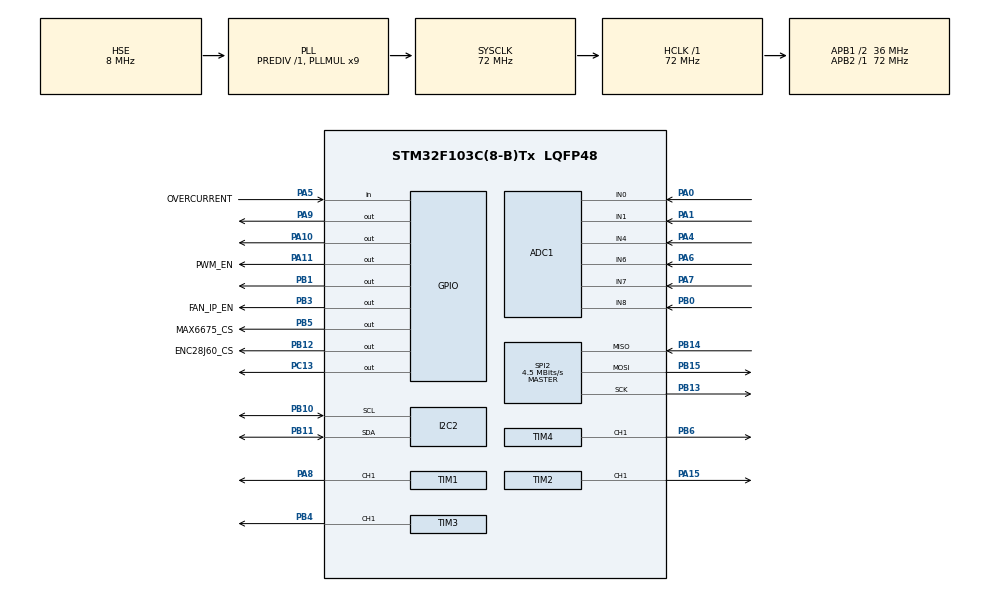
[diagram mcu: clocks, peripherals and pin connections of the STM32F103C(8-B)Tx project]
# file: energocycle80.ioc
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Mcu.Family=STM32F1
FREERTOS.Queues01=tempQueue,1,float,0,Dynamic,NULL,NULL;tcpQueue,64,uint8_t,0,Dynamic,NULL,NULL
FREERTOS.BinarySemaphores01=spi1BinarySem,Dynamic,NULL
SPI2.VirtualType=VM_MASTER
PB10.Mode=I2C
PB11.Signal=I2C2_SDA
PB13.Signal=SPI2_SCK
PB15.Signal=SPI2_MOSI
RCC.SYSCLKSource=RCC_SYSCLKSOURCE_PLLCLK
ProjectManager.StackSize=0x400
PD1-OSC_OUT.Signal=RCC_OSC_OUT
FREERTOS.configUSE_STATS_FORMATTING_FUNCTIONS=1
RCC.HCLKFreq_Value=72000000
RCC.APB2TimFreq_Value=72000000
TIM3.Period=288
PB6.Signal=S_TIM4_CH1
FREERTOS.configMINIMAL_STACK_SIZE=64
RCC.AHBFreq_Value=72000000
SPI2.BaudRatePrescaler=SPI_BAUDRATEPRESCALER_8
TIM3.Channel-PWM\ Generation1\ CH1=TIM_CHANNEL_1
ADC1.Channel-0\#ChannelRegularConversion=ADC_CHANNEL_0
FREERTOS.configUSE_TIMERS=1
RCC.PLLMUL=RCC_PLL_MUL9
FREERTOS.configENABLE_BACKWARD_COMPATIBILITY=0
PB12.GPIO_Label=ENC28J60_CS
TIM1.Channel-PWM\ Generation1\ CH1=TIM_CHANNEL_1
PA14.Mode=Serial_Wire
PB14.Mode=Full_Duplex_Master
SH.ADCx_IN8.0=ADC1_IN8,IN8
SPI2.CalculateBaudRate=4.5 MBits/s
PA8.Signal=S_TIM1_CH1
SH.ADCx_IN0.0=ADC1_IN0,IN0
TIM2.Channel-PWM\ Generation1\ CH1=TIM_CHANNEL_1
SH.S_TIM3_CH1.0=TIM3_CH1,PWM Generation1 CH1
TIM4.Period=288
VP_FREERTOS_VS_CMSIS_V1.Mode=CMSIS_V1
FREERTOS.configTIMER_TASK_PRIORITY=4
VP_TIM1_VS_ClockSourceINT.Mode=Internal
ADC1.SamplingTime-0\#ChannelRegularConversion=ADC_SAMPLETIME_1CYCLE_5
FREERTOS.configTOTAL_HEAP_SIZE=10240
Mcu.Package=LQFP48
PB1.Signal=GPIO_Output
PA6.Signal=ADCx_IN6
SPI2.Mode=SPI_MODE_MASTER
PA10.Signal=GPIO_Output
PA15.Signal=S_TIM2_CH1_ETR
SH.ADCx_IN1.0=ADC1_IN1,IN1
PB5.GPIO_Label=MAX6675_CS
SH.S_TIM4_CH1.0=TIM4_CH1,PWM Generation1 CH1
RCC.APB1TimFreq_Value=72000000
FREERTOS.configGENERATE_RUN_TIME_STATS=1
SPI2.Direction=SPI_DIRECTION_2LINES
TIM1.Period=288
PB13.Mode=Full_Duplex_Master
FREERTOS.configMAX_TASK_NAME_LEN=20
VP_TIM3_VS_ClockSourceINT.Mode=Internal
PB4.Signal=S_TIM3_CH1
PB3.GPIO_Label=FAN_IP_EN
RCC.PLLSourceVirtual=RCC_PLLSOURCE_HSE
TIM4.Channel-PWM\ Generation1\ CH1=TIM_CHANNEL_1
FREERTOS.Tasks01=defaultTask,-3,64,FdefaultTask,Default,NULL,Dynamic,NULL,NULL;mainTask,0,512,FmainTask,Default,NULL,Dynamic,NULL,NULL;tcpTask,0,512,FtcpTask,Default,NULL,Dynamic,NULL,NULL;adcTask,0,128,FadcTask,Default,NULL,Dynamic,NULL,NULL;frameDecoderTask,2,256,FframeDecoderTask,Default,NULL,Dynamic,NULL,NULL
ADC1.Rank-0\#ChannelRegularConversion=1
PD1-OSC_OUT.Mode=HSE-External-Oscillator
SH.ADCx_IN6.0=ADC1_IN6,IN6
FREERTOS.INCLUDE_vTaskDelayUntil=1
PC13-TAMPER-RTC.Signal=GPIO_Output
RCC.USBPrescaler=RCC_USBCLKSOURCE_PLL_DIV1_5
PA11.GPIO_Label=PWM_EN
PD0-OSC_IN.Signal=RCC_OSC_IN
RCC.APB1CLKDivider=RCC_HCLK_DIV2
PA0-WKUP.Signal=ADCx_IN0
RCC.ADCPresc=RCC_ADCPCLK2_DIV6
PA13.Signal=SYS_JTMS-SWDIO
SH.S_TIM1_CH1.0=TIM1_CH1,PWM Generation1 CH1
PB11.Mode=I2C
ProjectManager.TargetToolchain=STM32CubeIDE
FREERTOS.configUSE_TRACE_FACILITY=1
FREERTOS.configTIMER_TASK_STACK_DEPTH=128
SH.ADCx_IN7.0=ADC1_IN7,IN7
PA9.Signal=GPIO_Output
RCC.USBFreq_Value=48000000
PA1.Signal=ADCx_IN1
PB12.GPIO_Speed=GPIO_SPEED_FREQ_HIGH
PD0-OSC_IN.Mode=HSE-External-Oscillator
PB10.Signal=I2C2_SCL
PB14.Signal=SPI2_MISO
PA5.Signal=GPIO_Input
board=custom
PB15.Mode=Full_Duplex_Master
RCC.APB2Freq_Value=72000000
VP_TIM2_VS_ClockSourceINT.Mode=Internal
SH.ADCx_IN4.0=ADC1_IN4,IN4
FREERTOS.configUSE_MUTEXES=1
TIM2.Period=288
PA13.Mode=Serial_Wire
Mcu.Name=STM32F103C(8-B)Tx
PB3.Signal=GPIO_Output
PA4.Signal=ADCx_IN4
RCC.SYSCLKFreq_VALUE=72000000
PB5.Signal=GPIO_Output
ADC1.master=1
FREERTOS.configUSE_COUNTING_SEMAPHORES=1
PA5.GPIO_Label=OVERCURRENT
PA11.Signal=GPIO_Output
SH.S_TIM2_CH1_ETR.0=TIM2_CH1,PWM Generation1 CH1
PA14.Signal=SYS_JTCK-SWCLK
ProjectManager.HeapSize=0x200
FREERTOS.Timers01=tempTimer,CtempTimer,osTimerPeriodic,Default,NULL,Dynamic,NULL
VP_TIM4_VS_ClockSourceINT.Mode=Internal
FREERTOS.Mutexes01=spi1Mutex,Dynamic,NULL
NVIC.PriorityGroup=NVIC_PRIORITYGROUP_4
ADC1.NbrOfConversionFlag=1
RCC.APB1Freq_Value=36000000
PB0.Signal=ADCx_IN8
PB12.Signal=GPIO_Output
PA7.Signal=ADCx_IN7

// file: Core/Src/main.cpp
/* USER CODE BEGIN Header */
/**
  ******************************************************************************
  * @file           : main.c
  * @brief          : Main program body
  ******************************************************************************
  * @attention
  *
  * <h2><center>&copy; Copyright (c) 2021 STMicroelectronics.
  * All rights reserved.</center></h2>
  *
  * This software component is licensed by ST under Ultimate Liberty license
  * SLA0044, the "License"; You may not use this file except in compliance with
  * the License. You may obtain a copy of the License at:
  *                             www.st.com/SLA0044
  *
  ******************************************************************************
  */
/* USER CODE END Header */
#include "main.h"
#include "cmsis_os.h"

/* USER CODE BEGIN Includes */
#include <string.h>
#include <stdio.h>

#include "SEGGER_SYSVIEW_Int.h"
#include "SEGGER_RTT.h"

#include <ledImplementation.h>

#include "tcp_stream_buffer.h"
#include "net.h"
#include "max6675.h"

#include "LinxSTM32F103.h"
#include "LinxListener.h"

#include "Flash.h"
#include "EnergocycleSettings.h"
/* USER CODE END Includes */

ADC_HandleTypeDef hadc1;

I2C_HandleTypeDef hi2c2;

SPI_HandleTypeDef hspi2;

TIM_HandleTypeDef htim1;
TIM_HandleTypeDef htim2;
TIM_HandleTypeDef htim3;
TIM_HandleTypeDef htim4;

osThreadId defaultTaskHandle;
osThreadId mainTaskHandle;
osThreadId tcpTaskHandle;
osThreadId adcTaskHandle;
osThreadId frameDecoderTaskHandle;
osMessageQId tempQueueHandle;
osMessageQId tcpQueueHandle;
osTimerId tempTimerHandle;
osMutexId spi1MutexHandle;
osSemaphoreId spi1BinarySemHandle;
/* USER CODE BEGIN PV */
extern StreamBufferHandle_t tcp_rx_stream_buffer;
extern StreamBufferHandle_t tcp_tx_stream_buffer;

LinxSTM32F103* LinxDevice;
LinxListener* Listener;

Energocycle_settings_s esettings;
Energocycle_status_s estatus;
EC_FLASH_settings eflash_settings;
/* USER CODE END PV */

void SystemClock_Config(void);
static void MX_GPIO_Init(void);
static void MX_SPI2_Init(void);
static void MX_ADC1_Init(void);
static void MX_I2C2_Init(void);
static void MX_TIM1_Init(void);
static void MX_TIM2_Init(void);
static void MX_TIM3_Init(void);
static void MX_TIM4_Init(void);
void FdefaultTask(void const * argument);
void FmainTask(void const * argument);
void FtcpTask(void const * argument);
void FadcTask(void const * argument);
void FframeDecoderTask(void const * argument);
void CtempTimer(void const * argument);

int main(void)
{

  /* MCU Configuration--------------------------------------------------------*/

  /* Reset of all peripherals, Initializes the Flash interface and the Systick. */
  HAL_Init();

  /* Configure the system clock */
  SystemClock_Config();

  /* Initialize all configured peripherals */
  MX_GPIO_Init();
  MX_SPI2_Init();
  MX_ADC1_Init();
  MX_I2C2_Init();
  MX_TIM1_Init();
  MX_TIM2_Init();
  MX_TIM3_Init();
  MX_TIM4_Init();
  /* USER CODE BEGIN 2 */
  FLASH_Init();
  FLASH_ReadSettings();
  if (eflash_settings.init != 0x12345678) {
	  eflash_settings.init = 0x12345678;
	  eflash_settings.epid_settings = EC_PID_settings({0,0,0},{0,0,0},{0,0,0});
	  eflash_settings.ecalib_settings = EC_CALIB_settings({0,0},{0,0},{0,0});
	  FLASH_WriteSettings();
  }

  MAX6675_init(); //must be first cause CS up!!!
  net_ini();

  LinxDevice = new LinxSTM32F103();
  Listener = new LinxListener();
  Listener->LinxDev = LinxDevice;

  /* USER CODE END 2 */

  /* Create the mutex(es) */
  /* definition and creation of spi1Mutex */
  osMutexDef(spi1Mutex);
  spi1MutexHandle = osMutexCreate(osMutex(spi1Mutex));

  /* Create the semaphores(s) */
  /* definition and creation of spi1BinarySem */
  osSemaphoreDef(spi1BinarySem);
  spi1BinarySemHandle = osSemaphoreCreate(osSemaphore(spi1BinarySem), 1);

  /* Create the timer(s) */
  /* definition and creation of tempTimer */
  osTimerDef(tempTimer, CtempTimer);
  tempTimerHandle = osTimerCreate(osTimer(tempTimer), osTimerPeriodic, NULL);

  /* USER CODE BEGIN RTOS_TIMERS */
  /* start timers, add new ones, ... */
  osTimerStart(tempTimerHandle, 500);
  /* USER CODE END RTOS_TIMERS */

  /* Create the queue(s) */
  /* definition and creation of tempQueue */
  osMessageQDef(tempQueue, 1, float);
  tempQueueHandle = osMessageCreate(osMessageQ(tempQueue), NULL);

  /* definition and creation of tcpQueue */
  osMessageQDef(tcpQueue, 64, uint8_t);
  tcpQueueHandle = osMessageCreate(osMessageQ(tcpQueue), NULL);

  /* Create the thread(s) */
  /* definition and creation of defaultTask */
  osThreadDef(defaultTask, FdefaultTask, osPriorityIdle, 0, 64);
  defaultTaskHandle = osThreadCreate(osThread(defaultTask), NULL);

  /* definition and creation of mainTask */
  osThreadDef(mainTask, FmainTask, osPriorityNormal, 0, 512);
  mainTaskHandle = osThreadCreate(osThread(mainTask), NULL);

  /* definition and creation of tcpTask */
  osThreadDef(tcpTask, FtcpTask, osPriorityNormal, 0, 512);
  tcpTaskHandle = osThreadCreate(osThread(tcpTask), NULL);

  /* definition and creation of adcTask */
  osThreadDef(adcTask, FadcTask, osPriorityNormal, 0, 128);
  adcTaskHandle = osThreadCreate(osThread(adcTask), NULL);

  /* definition and creation of frameDecoderTask */
  osThreadDef(frameDecoderTask, FframeDecoderTask, osPriorityHigh, 0, 256);
  frameDecoderTaskHandle = osThreadCreate(osThread(frameDecoderTask), NULL);

  /* USER CODE BEGIN RTOS_THREADS */
  /* add threads, ... */
  SEGGER_RTT_printf(0, "%s", "stm started\n");

  #ifdef SEGGER_DEBUG
    SEGGER_RTT_printf(0, "PID_SETTINGS \n"
  		"T Kp=%u.%02u; T Ki=%u.%02u; T Kd=%u.%02u; \n"
  		"U Kp=%u.%02u; U Ki=%u.%02u; U Kd=%u.%02u; \n"
  		"I Kp=%u.%02u; I Ki=%u.%02u; I Kd=%u.%02u; \n",
  		FLOAT_PRINTF(eflash_settings.epid_settings.T_PID_settings.Kp),
  		FLOAT_PRINTF(eflash_settings.epid_settings.T_PID_settings.Ki),
  		FLOAT_PRINTF(eflash_settings.epid_settings.T_PID_settings.Kd),
  		FLOAT_PRINTF(eflash_settings.epid_settings.U_PID_settings.Kp),
  		FLOAT_PRINTF(eflash_settings.epid_settings.U_PID_settings.Ki),
  		FLOAT_PRINTF(eflash_settings.epid_settings.U_PID_settings.Kd),
  		FLOAT_PRINTF(eflash_settings.epid_settings.I_PID_settings.Kp),
  		FLOAT_PRINTF(eflash_settings.epid_settings.I_PID_settings.Ki),
  		FLOAT_PRINTF(eflash_settings.epid_settings.I_PID_settings.Kd));

    SEGGER_RTT_printf(0, "CALIB_SETTINGS \n"
  		"T K=%u.%u; T B=%u.%u \n"
  		"U K=%u.%u; U B=%u.%u; \n"
  		"I K=%u.%u; I B=%u.%u; \n",
  		FLOAT_PRINTF(eflash_settings.ecalib_settings.T_CALIB_settings.K),
  		FLOAT_PRINTF(eflash_settings.ecalib_settings.T_CALIB_settings.B),
  		FLOAT_PRINTF(eflash_settings.ecalib_settings.U_CALIB_settings.K),
  		FLOAT_PRINTF(eflash_settings.ecalib_settings.U_CALIB_settings.B),
  		FLOAT_PRINTF(eflash_settings.ecalib_settings.I_CALIB_settings.K),
  		FLOAT_PRINTF(eflash_settings.ecalib_settings.I_CALIB_settings.B));
  #endif
  /* USER CODE END RTOS_THREADS */

  /* Start scheduler */
  osKernelStart();

  /* We should never get here as control is now taken by the scheduler */
  /* Infinite loop */
  while (1)
  {

  }
}

void SystemClock_Config(void)
{
  RCC_OscInitTypeDef RCC_OscInitStruct = {0};
  RCC_ClkInitTypeDef RCC_ClkInitStruct = {0};
  RCC_PeriphCLKInitTypeDef PeriphClkInit = {0};

  /** Initializes the RCC Oscillators according to the specified parameters
  * in the RCC_OscInitTypeDef structure.
  */
  RCC_OscInitStruct.OscillatorType = RCC_OSCILLATORTYPE_HSE;
  RCC_OscInitStruct.HSEState = RCC_HSE_ON;
  RCC_OscInitStruct.HSEPredivValue = RCC_HSE_PREDIV_DIV1;
  RCC_OscInitStruct.HSIState = RCC_HSI_ON;
  RCC_OscInitStruct.PLL.PLLState = RCC_PLL_ON;
  RCC_OscInitStruct.PLL.PLLSource = RCC_PLLSOURCE_HSE;
  RCC_OscInitStruct.PLL.PLLMUL = RCC_PLL_MUL9;
  if (HAL_RCC_OscConfig(&RCC_OscInitStruct) != HAL_OK)
  {
    Error_Handler();
  }
  /** Initializes the CPU, AHB and APB buses clocks
  */
  RCC_ClkInitStruct.ClockType = RCC_CLOCKTYPE_HCLK|RCC_CLOCKTYPE_SYSCLK
                              |RCC_CLOCKTYPE_PCLK1|RCC_CLOCKTYPE_PCLK2;
  RCC_ClkInitStruct.SYSCLKSource = RCC_SYSCLKSOURCE_PLLCLK;
  RCC_ClkInitStruct.AHBCLKDivider = RCC_SYSCLK_DIV1;
  RCC_ClkInitStruct.APB1CLKDivider = RCC_HCLK_DIV2;
  RCC_ClkInitStruct.APB2CLKDivider = RCC_HCLK_DIV1;

  if (HAL_RCC_ClockConfig(&RCC_ClkInitStruct, FLASH_LATENCY_2) != HAL_OK)
  {
    Error_Handler();
  }
  PeriphClkInit.PeriphClockSelection = RCC_PERIPHCLK_ADC;
  PeriphClkInit.AdcClockSelection = RCC_ADCPCLK2_DIV6;
  if (HAL_RCCEx_PeriphCLKConfig(&PeriphClkInit) != HAL_OK)
  {
    Error_Handler();
  }
}

static void MX_ADC1_Init(void)
{

  ADC_ChannelConfTypeDef sConfig = {0};

  /** Common config
  */
  hadc1.Instance = ADC1;
  hadc1.Init.ScanConvMode = ADC_SCAN_DISABLE;
  hadc1.Init.ContinuousConvMode = DISABLE;
  hadc1.Init.DiscontinuousConvMode = DISABLE;
  hadc1.Init.ExternalTrigConv = ADC_SOFTWARE_START;
  hadc1.Init.DataAlign = ADC_DATAALIGN_RIGHT;
  hadc1.Init.NbrOfConversion = 1;
  if (HAL_ADC_Init(&hadc1) != HAL_OK)
  {
    Error_Handler();
  }
  /** Configure Regular Channel
  */
  sConfig.Channel = ADC_CHANNEL_0;
  sConfig.Rank = ADC_REGULAR_RANK_1;
  sConfig.SamplingTime = ADC_SAMPLETIME_1CYCLE_5;
  if (HAL_ADC_ConfigChannel(&hadc1, &sConfig) != HAL_OK)
  {
    Error_Handler();
  }

}

static void MX_I2C2_Init(void)
{

  hi2c2.Instance = I2C2;
  hi2c2.Init.ClockSpeed = 100000;
  hi2c2.Init.DutyCycle = I2C_DUTYCYCLE_2;
  hi2c2.Init.OwnAddress1 = 0;
  hi2c2.Init.AddressingMode = I2C_ADDRESSINGMODE_7BIT;
  hi2c2.Init.DualAddressMode = I2C_DUALADDRESS_DISABLE;
  hi2c2.Init.OwnAddress2 = 0;
  hi2c2.Init.GeneralCallMode = I2C_GENERALCALL_DISABLE;
  hi2c2.Init.NoStretchMode = I2C_NOSTRETCH_DISABLE;
  if (HAL_I2C_Init(&hi2c2) != HAL_OK)
  {
    Error_Handler();
  }

}

static void MX_SPI2_Init(void)
{

  /* SPI2 parameter configuration*/
  hspi2.Instance = SPI2;
  hspi2.Init.Mode = SPI_MODE_MASTER;
  hspi2.Init.Direction = SPI_DIRECTION_2LINES;
  hspi2.Init.DataSize = SPI_DATASIZE_8BIT;
  hspi2.Init.CLKPolarity = SPI_POLARITY_LOW;
  hspi2.Init.CLKPhase = SPI_PHASE_1EDGE;
  hspi2.Init.NSS = SPI_NSS_SOFT;
  hspi2.Init.BaudRatePrescaler = SPI_BAUDRATEPRESCALER_8;
  hspi2.Init.FirstBit = SPI_FIRSTBIT_MSB;
  hspi2.Init.TIMode = SPI_TIMODE_DISABLE;
  hspi2.Init.CRCCalculation = SPI_CRCCALCULATION_DISABLE;
  hspi2.Init.CRCPolynomial = 10;
  if (HAL_SPI_Init(&hspi2) != HAL_OK)
  {
    Error_Handler();
  }

}

static void MX_TIM1_Init(void)
{

  TIM_ClockConfigTypeDef sClockSourceConfig = {0};
  TIM_MasterConfigTypeDef sMasterConfig = {0};
  TIM_OC_InitTypeDef sConfigOC = {0};
  TIM_BreakDeadTimeConfigTypeDef sBreakDeadTimeConfig = {0};

  htim1.Instance = TIM1;
  htim1.Init.Prescaler = 0;
  htim1.Init.CounterMode = TIM_COUNTERMODE_UP;
  htim1.Init.Period = 288;
  htim1.Init.ClockDivision = TIM_CLOCKDIVISION_DIV1;
  htim1.Init.RepetitionCounter = 0;
  htim1.Init.AutoReloadPreload = TIM_AUTORELOAD_PRELOAD_DISABLE;
  if (HAL_TIM_Base_Init(&htim1) != HAL_OK)
  {
    Error_Handler();
  }
  sClockSourceConfig.ClockSource = TIM_CLOCKSOURCE_INTERNAL;
  if (HAL_TIM_ConfigClockSource(&htim1, &sClockSourceConfig) != HAL_OK)
  {
    Error_Handler();
  }
  if (HAL_TIM_PWM_Init(&htim1) != HAL_OK)
  {
    Error_Handler();
  }
  sMasterConfig.MasterOutputTrigger = TIM_TRGO_RESET;
  sMasterConfig.MasterSlaveMode = TIM_MASTERSLAVEMODE_DISABLE;
  if (HAL_TIMEx_MasterConfigSynchronization(&htim1, &sMasterConfig) != HAL_OK)
  {
    Error_Handler();
  }
  sConfigOC.OCMode = TIM_OCMODE_PWM1;
  sConfigOC.Pulse = 0;
  sConfigOC.OCPolarity = TIM_OCPOLARITY_HIGH;
  sConfigOC.OCNPolarity = TIM_OCNPOLARITY_HIGH;
  sConfigOC.OCFastMode = TIM_OCFAST_DISABLE;
  sConfigOC.OCIdleState = TIM_OCIDLESTATE_RESET;
  sConfigOC.OCNIdleState = TIM_OCNIDLESTATE_RESET;
  if (HAL_TIM_PWM_ConfigChannel(&htim1, &sConfigOC, TIM_CHANNEL_1) != HAL_OK)
  {
    Error_Handler();
  }
  sBreakDeadTimeConfig.OffStateRunMode = TIM_OSSR_DISABLE;
  sBreakDeadTimeConfig.OffStateIDLEMode = TIM_OSSI_DISABLE;
  sBreakDeadTimeConfig.LockLevel = TIM_LOCKLEVEL_OFF;
  sBreakDeadTimeConfig.DeadTime = 0;
  sBreakDeadTimeConfig.BreakState = TIM_BREAK_DISABLE;
  sBreakDeadTimeConfig.BreakPolarity = TIM_BREAKPOLARITY_HIGH;
  sBreakDeadTimeConfig.AutomaticOutput = TIM_AUTOMATICOUTPUT_DISABLE;
  if (HAL_TIMEx_ConfigBreakDeadTime(&htim1, &sBreakDeadTimeConfig) != HAL_OK)
  {
    Error_Handler();
  }
  HAL_TIM_MspPostInit(&htim1);

}

static void MX_TIM2_Init(void)
{

  TIM_ClockConfigTypeDef sClockSourceConfig = {0};
  TIM_MasterConfigTypeDef sMasterConfig = {0};
  TIM_OC_InitTypeDef sConfigOC = {0};

  htim2.Instance = TIM2;
  htim2.Init.Prescaler = 0;
  htim2.Init.CounterMode = TIM_COUNTERMODE_UP;
  htim2.Init.Period = 288;
  htim2.Init.ClockDivision = TIM_CLOCKDIVISION_DIV1;
  htim2.Init.AutoReloadPreload = TIM_AUTORELOAD_PRELOAD_DISABLE;
  if (HAL_TIM_Base_Init(&htim2) != HAL_OK)
  {
    Error_Handler();
  }
  sClockSourceConfig.ClockSource = TIM_CLOCKSOURCE_INTERNAL;
  if (HAL_TIM_ConfigClockSource(&htim2, &sClockSourceConfig) != HAL_OK)
  {
    Error_Handler();
  }
  if (HAL_TIM_PWM_Init(&htim2) != HAL_OK)
  {
    Error_Handler();
  }
  sMasterConfig.MasterOutputTrigger = TIM_TRGO_RESET;
  sMasterConfig.MasterSlaveMode = TIM_MASTERSLAVEMODE_DISABLE;
  if (HAL_TIMEx_MasterConfigSynchronization(&htim2, &sMasterConfig) != HAL_OK)
  {
    Error_Handler();
  }
  sConfigOC.OCMode = TIM_OCMODE_PWM1;
  sConfigOC.Pulse = 0;
  sConfigOC.OCPolarity = TIM_OCPOLARITY_HIGH;
  sConfigOC.OCFastMode = TIM_OCFAST_DISABLE;
  if (HAL_TIM_PWM_ConfigChannel(&htim2, &sConfigOC, TIM_CHANNEL_1) != HAL_OK)
  {
    Error_Handler();
  }
  HAL_TIM_MspPostInit(&htim2);

}

static void MX_TIM3_Init(void)
{

  TIM_ClockConfigTypeDef sClockSourceConfig = {0};
  TIM_MasterConfigTypeDef sMasterConfig = {0};
  TIM_OC_InitTypeDef sConfigOC = {0};

  htim3.Instance = TIM3;
  htim3.Init.Prescaler = 0;
  htim3.Init.CounterMode = TIM_COUNTERMODE_UP;
  htim3.Init.Period = 288;
  htim3.Init.ClockDivision = TIM_CLOCKDIVISION_DIV1;
  htim3.Init.AutoReloadPreload = TIM_AUTORELOAD_PRELOAD_DISABLE;
  if (HAL_TIM_Base_Init(&htim3) != HAL_OK)
  {
    Error_Handler();
  }
  sClockSourceConfig.ClockSource = TIM_CLOCKSOURCE_INTERNAL;
  if (HAL_TIM_ConfigClockSource(&htim3, &sClockSourceConfig) != HAL_OK)
  {
    Error_Handler();
  }
  if (HAL_TIM_PWM_Init(&htim3) != HAL_OK)
  {
    Error_Handler();
  }
  sMasterConfig.MasterOutputTrigger = TIM_TRGO_RESET;
  sMasterConfig.MasterSlaveMode = TIM_MASTERSLAVEMODE_DISABLE;
  if (HAL_TIMEx_MasterConfigSynchronization(&htim3, &sMasterConfig) != HAL_OK)
  {
    Error_Handler();
  }
  sConfigOC.OCMode = TIM_OCMODE_PWM1;
  sConfigOC.Pulse = 0;
  sConfigOC.OCPolarity = TIM_OCPOLARITY_HIGH;
  sConfigOC.OCFastMode = TIM_OCFAST_DISABLE;
  if (HAL_TIM_PWM_ConfigChannel(&htim3, &sConfigOC, TIM_CHANNEL_1) != HAL_OK)
  {
    Error_Handler();
  }
  HAL_TIM_MspPostInit(&htim3);

}

static void MX_TIM4_Init(void)
{

  TIM_ClockConfigTypeDef sClockSourceConfig = {0};
  TIM_MasterConfigTypeDef sMasterConfig = {0};
  TIM_OC_InitTypeDef sConfigOC = {0};

  htim4.Instance = TIM4;
  htim4.Init.Prescaler = 0;
  htim4.Init.CounterMode = TIM_COUNTERMODE_UP;
  htim4.Init.Period = 288;
  htim4.Init.ClockDivision = TIM_CLOCKDIVISION_DIV1;
  htim4.Init.AutoReloadPreload = TIM_AUTORELOAD_PRELOAD_DISABLE;
  if (HAL_TIM_Base_Init(&htim4) != HAL_OK)
  {
    Error_Handler();
  }
  sClockSourceConfig.ClockSource = TIM_CLOCKSOURCE_INTERNAL;
  if (HAL_TIM_ConfigClockSource(&htim4, &sClockSourceConfig) != HAL_OK)
  {
    Error_Handler();
  }
  if (HAL_TIM_PWM_Init(&htim4) != HAL_OK)
  {
    Error_Handler();
  }
  sMasterConfig.MasterOutputTrigger = TIM_TRGO_RESET;
  sMasterConfig.MasterSlaveMode = TIM_MASTERSLAVEMODE_DISABLE;
  if (HAL_TIMEx_MasterConfigSynchronization(&htim4, &sMasterConfig) != HAL_OK)
  {
    Error_Handler();
  }
  sConfigOC.OCMode = TIM_OCMODE_PWM1;
  sConfigOC.Pulse = 0;
  sConfigOC.OCPolarity = TIM_OCPOLARITY_HIGH;
  sConfigOC.OCFastMode = TIM_OCFAST_DISABLE;
  if (HAL_TIM_PWM_ConfigChannel(&htim4, &sConfigOC, TIM_CHANNEL_1) != HAL_OK)
  {
    Error_Handler();
  }
  HAL_TIM_MspPostInit(&htim4);

}

static void MX_GPIO_Init(void)
{
  GPIO_InitTypeDef GPIO_InitStruct = {0};

  /* GPIO Ports Clock Enable */
  __HAL_RCC_GPIOC_CLK_ENABLE();
  __HAL_RCC_GPIOD_CLK_ENABLE();
  __HAL_RCC_GPIOA_CLK_ENABLE();
  __HAL_RCC_GPIOB_CLK_ENABLE();

  /*Configure GPIO pin Output Level */
  HAL_GPIO_WritePin(GPIOC, GPIO_PIN_13, GPIO_PIN_RESET);

  /*Configure GPIO pin Output Level */
  HAL_GPIO_WritePin(GPIOB, GPIO_PIN_1|ENC28J60_CS_Pin|GPIO_PIN_3|MAX6675_CS_Pin, GPIO_PIN_RESET);

  /*Configure GPIO pin Output Level */
  HAL_GPIO_WritePin(GPIOA, GPIO_PIN_9|GPIO_PIN_10, GPIO_PIN_RESET);

  /*Configure GPIO pin : PC13 */
  GPIO_InitStruct.Pin = GPIO_PIN_13;
  GPIO_InitStruct.Mode = GPIO_MODE_OUTPUT_PP;
  GPIO_InitStruct.Pull = GPIO_NOPULL;
  GPIO_InitStruct.Speed = GPIO_SPEED_FREQ_LOW;
  HAL_GPIO_Init(GPIOC, &GPIO_InitStruct);

  /*Configure GPIO pin : PA5 */
  GPIO_InitStruct.Pin = GPIO_PIN_5;
  GPIO_InitStruct.Mode = GPIO_MODE_INPUT;
  GPIO_InitStruct.Pull = GPIO_NOPULL;
  HAL_GPIO_Init(GPIOA, &GPIO_InitStruct);

  /*Configure GPIO pins : PB1 PB3 MAX6675_CS_Pin */
  GPIO_InitStruct.Pin = GPIO_PIN_1|GPIO_PIN_3|MAX6675_CS_Pin;
  GPIO_InitStruct.Mode = GPIO_MODE_OUTPUT_PP;
  GPIO_InitStruct.Pull = GPIO_NOPULL;
  GPIO_InitStruct.Speed = GPIO_SPEED_FREQ_LOW;
  HAL_GPIO_Init(GPIOB, &GPIO_InitStruct);

  /*Configure GPIO pin : ENC28J60_CS_Pin */
  GPIO_InitStruct.Pin = ENC28J60_CS_Pin;
  GPIO_InitStruct.Mode = GPIO_MODE_OUTPUT_PP;
  GPIO_InitStruct.Pull = GPIO_NOPULL;
  GPIO_InitStruct.Speed = GPIO_SPEED_FREQ_HIGH;
  HAL_GPIO_Init(ENC28J60_CS_GPIO_Port, &GPIO_InitStruct);

  /*Configure GPIO pins : PA9 PA10 */
  GPIO_InitStruct.Pin = GPIO_PIN_9|GPIO_PIN_10;
  GPIO_InitStruct.Mode = GPIO_MODE_OUTPUT_PP;
  GPIO_InitStruct.Pull = GPIO_NOPULL;
  GPIO_InitStruct.Speed = GPIO_SPEED_FREQ_LOW;
  HAL_GPIO_Init(GPIOA, &GPIO_InitStruct);

}

void FdefaultTask(void const * argument)
{
  /* USER CODE BEGIN 5 */

	/* Infinite loop */
	for(;;)
	{
		//RedLed.Blink();
		osDelay(100);
	}

  /* USER CODE END 5 */
}

void FmainTask(void const * argument)
{
  /* USER CODE BEGIN FmainTask */
  uint32_t i = 0;
  TickType_t xLastWakeTime = xTaskGetTickCount();
  /* Infinite loop */
  for(;;)
  {
#ifdef SEGGER_DEBUG
	//SEGGER_SYSVIEW_PrintfHost("main\n");
#endif
	float temp = 0;
	if(xQueuePeek(tempQueueHandle, &temp, 10/portTICK_PERIOD_MS) == pdTRUE) {
#ifdef SEGGER_DEBUG
		//SEGGER_SYSVIEW_PrintfHost("temp %u.%u\n", FLOAT_PRINTF(temp));
#endif
		estatus.T = temp;
		estatus.U = (temp-10)/10;
		estatus.I = (temp-25)*10;
	}

	i++;
	vTaskDelayUntil(&xLastWakeTime, 100/portTICK_PERIOD_MS);
  }
  /* USER CODE END FmainTask */
}

void FtcpTask(void const * argument)
{
  /* USER CODE BEGIN FtcpTask */
  /* Infinite loop */
  for(;;)
  {
	if(xSemaphoreTake(spi1MutexHandle, 100/portTICK_PERIOD_MS) == pdPASS)
	{
	  net_poll();
	  xSemaphoreGive(spi1MutexHandle);
	}

	osDelay(100);
  }
  /* USER CODE END FtcpTask */
}

void FadcTask(void const * argument)
{
  /* USER CODE BEGIN FadcTask */
  /* Infinite loop */
  for(;;)
  {
    osDelay(100);
  }
  /* USER CODE END FadcTask */
}

void FframeDecoderTask(void const * argument)
{
  /* USER CODE BEGIN FframeDecoderTask */

  /* Infinite loop */
  for(;;)
  {
	uint8_t bufferRX[ TCP_STREAM_BUFF_SIZE ];
	uint8_t bufferTX[ TCP_STREAM_BUFF_SIZE ];
	memset(bufferRX, 0, TCP_STREAM_BUFF_SIZE);
	memset(bufferTX, 0, TCP_STREAM_BUFF_SIZE);
	tcp_stream_create_buffer();

	//size_t res = xStreamBufferSpacesAvailable(tcp_stream_buffer);
	uint8_t length  = xStreamBufferReceive(tcp_rx_stream_buffer, (uint8_t*)bufferRX, sizeof(bufferRX), portMAX_DELAY);
	if ( length > 0 )
	{
#ifdef SEGGER_DEBUG
		SEGGER_SYSVIEW_PrintfHost("TCP receive %d", length);
		SEGGER_RTT_printf(0, "TCP recv %d - ", (int)bufferRX[1]);
		for (int i = 0; i < length; ++i) {
			SEGGER_RTT_printf(0, "%x ", (int)bufferRX[i]);
		}
		SEGGER_RTT_printf(0, "\r\n");
#endif

		Listener->ProcessCommand(bufferRX, bufferTX);

		xStreamBufferSend(tcp_tx_stream_buffer, bufferTX, bufferTX[1], 10);

#ifdef SEGGER_DEBUG
		SEGGER_SYSVIEW_PrintfHost("TCP send %d", bufferTX[1]);
		SEGGER_RTT_printf(0, "TCP send %d -    ", (int)bufferTX[1]);
		for (int i = 0; i < bufferTX[1]; ++i) {
			SEGGER_RTT_printf(0, "%x ", (int)bufferTX[i]);
		}
		SEGGER_RTT_printf(0, "\r\n");
#endif

	}
    //osDelay(1000);
  }
  /* USER CODE END FframeDecoderTask */
}

/* CtempTimer function */
void CtempTimer(void const * argument)
{
  /* USER CODE BEGIN CtempTimer */
#ifdef SEGGER_DEBUG
	//SEGGER_SYSVIEW_PrintfHost("temp\n");
#endif
	if(xSemaphoreTake(spi1MutexHandle, 100/portTICK_PERIOD_MS) == pdPASS) {
		float temp = MAX6675_get_temp();
		xQueueOverwrite(tempQueueHandle, &temp);
#ifdef SEGGER_DEBUG
		//SEGGER_SYSVIEW_PrintfHost("temp@ %u.%u\n", FLOAT_PRINTF(temp));
		//SEGGER_RTT_printf(0, "temp %u.%u\n", FLOAT_PRINTF(temp));
#endif
		xSemaphoreGive(spi1MutexHandle);
	}
  /* USER CODE END CtempTimer */
}

void Error_Handler(void)
{
  __disable_irq();
  while (1)
  {
  }
}

/************************ (C) COPYRIGHT STMicroelectronics *****END OF FILE****/

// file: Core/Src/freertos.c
/* USER CODE BEGIN Header */
/**
  ******************************************************************************
  * File Name          : freertos.c
  * Description        : Code for freertos applications
  ******************************************************************************
  * @attention
  *
  * <h2><center>&copy; Copyright (c) 2021 STMicroelectronics.
  * All rights reserved.</center></h2>
  *
  * This software component is licensed by ST under Ultimate Liberty license
  * SLA0044, the "License"; You may not use this file except in compliance with
  * the License. You may obtain a copy of the License at:
  *                             www.st.com/SLA0044
  *
  ******************************************************************************
  */
/* USER CODE END Header */

#include "FreeRTOS.h"
#include "task.h"
#include "main.h"

/* GetIdleTaskMemory prototype (linked to static allocation support) */
void vApplicationGetIdleTaskMemory( StaticTask_t **ppxIdleTaskTCBBuffer, StackType_t **ppxIdleTaskStackBuffer, uint32_t *pulIdleTaskStackSize );

/* GetTimerTaskMemory prototype (linked to static allocation support) */
void vApplicationGetTimerTaskMemory( StaticTask_t **ppxTimerTaskTCBBuffer, StackType_t **ppxTimerTaskStackBuffer, uint32_t *pulTimerTaskStackSize );

/* Hook prototypes */
void configureTimerForRunTimeStats(void);
unsigned long getRunTimeCounterValue(void);

/* USER CODE BEGIN 1 */
/* Functions needed when configGENERATE_RUN_TIME_STATS is on */
__weak void configureTimerForRunTimeStats(void)
{

}

__weak unsigned long getRunTimeCounterValue(void)
{
return 0;
}
/* USER CODE END 1 */

/* USER CODE BEGIN GET_IDLE_TASK_MEMORY */
static StaticTask_t xIdleTaskTCBBuffer;
static StackType_t xIdleStack[configMINIMAL_STACK_SIZE];

void vApplicationGetIdleTaskMemory( StaticTask_t **ppxIdleTaskTCBBuffer, StackType_t **ppxIdleTaskStackBuffer, uint32_t *pulIdleTaskStackSize )
{
  *ppxIdleTaskTCBBuffer = &xIdleTaskTCBBuffer;
  *ppxIdleTaskStackBuffer = &xIdleStack[0];
  *pulIdleTaskStackSize = configMINIMAL_STACK_SIZE;
  /* place for user code */
}
/* USER CODE END GET_IDLE_TASK_MEMORY */

/* USER CODE BEGIN GET_TIMER_TASK_MEMORY */
static StaticTask_t xTimerTaskTCBBuffer;
static StackType_t xTimerStack[configTIMER_TASK_STACK_DEPTH];

void vApplicationGetTimerTaskMemory( StaticTask_t **ppxTimerTaskTCBBuffer, StackType_t **ppxTimerTaskStackBuffer, uint32_t *pulTimerTaskStackSize )
{
  *ppxTimerTaskTCBBuffer = &xTimerTaskTCBBuffer;
  *ppxTimerTaskStackBuffer = &xTimerStack[0];
  *pulTimerTaskStackSize = configTIMER_TASK_STACK_DEPTH;
  /* place for user code */
}
/* USER CODE END GET_TIMER_TASK_MEMORY */

/************************ (C) COPYRIGHT STMicroelectronics *****END OF FILE****/
